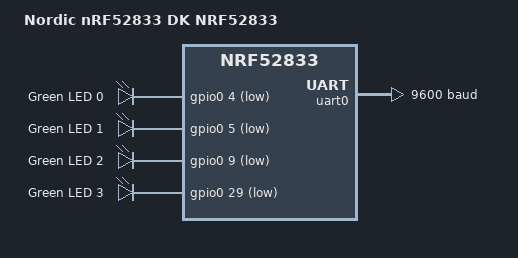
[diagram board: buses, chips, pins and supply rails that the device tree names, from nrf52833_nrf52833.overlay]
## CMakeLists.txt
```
# SPDX-License-Identifier: Apache-2.0

cmake_minimum_required(VERSION 3.20.0)

find_package(Zephyr REQUIRED HINTS $ENV{ZEPHYR_BASE})
project(uart_echo_bot)

target_sources(app PRIVATE src/main.c)
```

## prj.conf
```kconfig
CONFIG_SERIAL=y
CONFIG_UART_INTERRUPT_DRIVEN=y
CONFIG_UART_USE_RUNTIME_CONFIGURE=y
```

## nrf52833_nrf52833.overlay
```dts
&uart0 {
    compatible = "nordic,nrf-uarte";
    status = "okay";
    label = "UART_0";
    current-speed = < 9600 >;
  };
/* for node */

/ {
	model = "Nordic nRF52833 DK NRF52833";
    compatible = "nordic,nrf52833-dk-nrf52833";

	chosen {
		zephyr,console = &uart0;
		zephyr,shell-uart = &uart0;
		zephyr,uart-mcumgr = &uart0;
		zephyr,bt-mon-uart = &uart0;
		zephyr,bt-c2h-uart = &uart0;
		zephyr,sram = &sram0;
		zephyr,flash = &flash0;
		zephyr,code-partition = &slot0_partition;
	};

	leds {
		compatible = "gpio-leds";
		led0: led_0 {
			gpios = <&gpio0 4 GPIO_ACTIVE_LOW>;
			label = "Green LED 0";
		};
		led1: led_1 {
			gpios = <&gpio0 5 GPIO_ACTIVE_LOW>;
			label = "Green LED 1";
		};
		led2: led_2 {
			gpios = <&gpio0 9 GPIO_ACTIVE_LOW>;
			label = "Green LED 2";
		};
		led3: led_3 {
			gpios = <&gpio0 29 GPIO_ACTIVE_LOW>;
			label = "Green LED 3";
		};
	};
};
&pinctrl {
	uart0_default: uart0_default {
		group1 {
			psels = <NRF_PSEL(UART_TX, 0, 29)>, //6   for nrf52dk5832 / 5840
				<NRF_PSEL(UART_RX, 0, 28)>;   //8	  for nrf52dk5832
				
		};
	};

	uart0_sleep: uart0_sleep {
		group1 {
			psels = <NRF_PSEL(UART_TX, 0, 29)>,    //6
				<NRF_PSEL(UART_RX, 0, 28)>;        //8
				
			low-power-enable;
		};
	};
	i2c0_default: i2c0_default {
		group1 {
			psels = <NRF_PSEL(TWIM_SDA, 0, 2)>,  
				<NRF_PSEL(TWIM_SCL, 0, 3)>;      
		};
	};

	i2c0_sleep: i2c0_sleep {
		group1 {
			psels = <NRF_PSEL(TWIM_SDA, 0, 2)>,   
				<NRF_PSEL(TWIM_SCL, 0, 3)>;        
			low-power-enable;
		};
	};
};
```

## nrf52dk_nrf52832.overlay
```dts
&uart0 {
  compatible = "nordic,nrf-uarte";
  status = "okay";
  label = "UART_0";
  current-speed = < 9600 >;
};
```

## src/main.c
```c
#include <zephyr/kernel.h>                // Include the Zephyr kernel header for system-level functions
#include <zephyr/device.h>                // Include the Zephyr device management header
#include <zephyr/drivers/uart.h>          // Include the Zephyr UART driver header
#include <stdlib.h>                        // Include the standard library header for general-purpose functions
#include <string.h>                        // Include the standard library header for string manipulation
#include <limits.h>                        // Include the standard library header for limits like INT_MAX, etc.

static const struct device *uart_dev;   // Declare a pointer to store UART device object

/* Function to initialize UART with specific settings */
void uart_init(void)
{
    // Get a reference to the UART device (UART_0 in this case)
    uart_dev = device_get_binding("UART_0"); // Example of setting UART device to "UART_0"
    
    // Check if the device is ready for use
    if (!device_is_ready(uart_dev))          // If the UART device isn't ready, handle the error
    {
        printk("UART device not found!\n"); // Print an error message if UART device is not found
    }
    
    // Declare a struct to hold UART configuration
    struct uart_config uart_cfg;

    /* Set UART configuration parameters */
    uart_cfg.baudrate = 9600;             // Set baud rate to 9600
    uart_cfg.parity = UART_CFG_PARITY_NONE; // No parity bits (even, odd, or none)
    uart_cfg.stop_bits = UART_CFG_STOP_BITS_1; // Set stop bits to 1
    uart_cfg.data_bits = UART_CFG_DATA_BITS_8; // Set data bits to 8 (standard for most UART devices)
    uart_cfg.flow_ctrl = UART_CFG_FLOW_CTRL_NONE; // No flow control (e.g., no RTS/CTS)

    /* Configure the UART device with the settings */
    int ret = uart_configure(uart_dev, &uart_cfg); // Apply the configuration to the UART device
    if (ret != 0)  // Check if configuring the UART failed
    {
        printk("Failed to configure UART: %d\n", ret); // Print an error message if configuration fails
    }
}

/* Function to send a command via UART */
void send_uart_command(const uint8_t *cmd, size_t length)
{
    // Loop through each byte of the command
    for (size_t i = 0; i < length; i++)
    {
        uart_poll_out(uart_dev, cmd[i]);   // Send one byte at a time over UART
        k_msleep(1); // Add a small delay between sending each byte (helps in case of high-speed UART)
    }
}

/* Function to receive data from UART */
int receive_uart_data(uint8_t *buf, size_t length, k_timeout_t timeout)
{
    size_t received_len = 0;   // Variable to track how many bytes we've received
    int ret;                    // Variable to store the return value of uart_poll_in
    uint32_t start_time = k_uptime_get();  // Get the current time (used to track timeout)

    // Loop until we receive the required number of bytes
    while (received_len < length)
    {
        ret = uart_poll_in(uart_dev, &buf[received_len]);  // Try to read one byte from UART
        if (ret == 0)  // If data was successfully received
        {
            received_len++;  // Increment the count of received bytes
        }
        else if (ret == -1)  // If no data was available (timeout condition)
        {
            k_msleep(1);  // Sleep for a small amount of time before retrying
            if (k_uptime_get() - start_time > timeout.ticks)  // Check if the timeout period has been exceeded
            {
                return -ETIMEDOUT;  // If timeout, return the error code for timeout
            }
        }
        else  // If any other error occurred (e.g., invalid data)
        {
            return ret;  // Return the error code
        }
    }
    return 0;  // Return 0 when the data has been successfully received
}

int main(void)
{
    uart_init(); // Initialize UART with specified settings

    uint8_t query_command[3] = {0xA5, 0x09, 0xAE}; // Define the query command to be sent (3 bytes)
    uint8_t rx_buf[9];  // Buffer to store received data (expected to be 9 bytes)

    while (1)  // Main loop, keeps running indefinitely
    {
        send_uart_command(query_command, sizeof(query_command)); // Send the query command to the UART device

        // Try to receive data from UART, expecting 9 bytes and a timeout of 100ms
        int ret = receive_uart_data(rx_buf, sizeof(rx_buf), K_MSEC(100)); 
        if (ret == 0)  // If data was successfully received
        {
            // Extract the 32-bit lux value from the received data (rx_buf[4] to rx_buf[7])
            uint32_t lux = (rx_buf[4] << 24) | (rx_buf[5] << 16) | (rx_buf[6] << 8) | rx_buf[7];
            
            // Convert lux value to float and scale it by dividing by 100
            uint32_t luxValue = lux / 100.0;  // Convert to lux value and scale

            // Print the lux value (light intensity) to the console
            printf("Light intensity: %d\n", luxValue);
        }
        else  // If an error occurred while receiving data
        {
            printk("UART receive error: %d\n", ret);  // Print the error code
        }

        k_msleep(1000);  // Sleep for 1000 ms (1 second) before sending the next query
    }

    return 0;  // The program will never reach here due to the infinite loop in main
}
```
